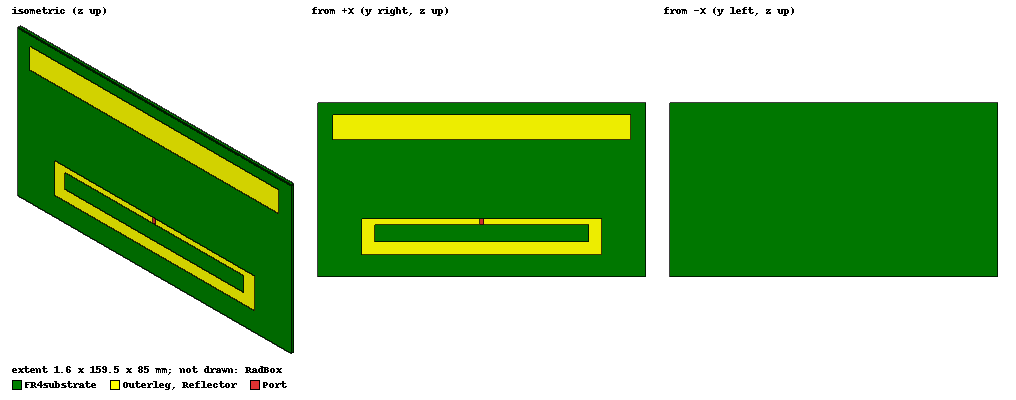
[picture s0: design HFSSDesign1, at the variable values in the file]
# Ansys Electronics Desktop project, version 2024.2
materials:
  vacuum: permittivity=1
  copper: permeability=0.999991 conductivity=58000000
  FR4_epoxy: permittivity=4.4 dielectric_loss_tangent=0.02

design HFSSDesign1 (HFSS, HFSS Terminal Network, model units mm)
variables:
  dipole_length = 114.5mm  # optimise 100mm..125mm
  dipole_outer_width = 6mm  # optimise 3mm..10mm
  dipole_inner_gap = 2mm
  dipole_inner_width = 3mm
  reflector_length = 145mm  # optimise 110mm..165mm
  reflector_thickness = 12mm
  reflector_distance = 40mm  # optimise 25mm..75mm
  dipole_aperture = 10mm
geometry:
  RadBox [vacuum] = box(corner=(-2*dipole_length, -2*dipole_length, -2*dipole_length), size=(4*dipole_length, 4*dipole_length, 4*dipole_length))
  Port = rectangle(corner=(0mm, -dipole_inner_gap/2, -dipole_inner_width/2), y_size=dipole_inner_gap, z_size=dipole_inner_width)
  FR4substrate [FR4_epoxy] = box(corner=(0mm, -reflector_length*1.1/2, -dipole_outer_width*4.5), size=(-1.6mm, reflector_length*1.1, (dipole_outer_width*4.5) + (reflector_distance) + (reflector_thickness*1.5)))
  Reflector = rectangle(corner=(0mm, -reflector_length/2, reflector_distance), y_size=reflector_length, z_size=reflector_thickness)
  Innerleg1 = rectangle(corner=(0mm, -dipole_inner_gap/2, dipole_inner_width/2), y_size=-dipole_length/2, z_size=-dipole_inner_width)
  Innerleg2 = rectangle(corner=(0mm, dipole_inner_gap/2, dipole_inner_width/2), y_size=dipole_length/2, z_size=-dipole_inner_width)
  Outerleg = rectangle(corner=(0mm, -dipole_length/2, -dipole_aperture), y_size=dipole_length, z_size=-dipole_outer_width)
  Side1 = rectangle(corner=(0mm, -((dipole_length/2)+(dipole_inner_gap/2)), dipole_inner_width/2), y_size=dipole_outer_width, z_size=-(dipole_outer_width+dipole_aperture+(dipole_inner_width/2)))
  Side2 = rectangle(corner=(0mm, ((dipole_length/2)+(dipole_inner_gap/2)), dipole_inner_width/2), y_size=-dipole_outer_width, z_size=-(dipole_outer_width+dipole_aperture+(dipole_inner_width/2)))
  Outerleg.unite(Side1, Side2, Innerleg2, Innerleg1)
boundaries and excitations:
  Rad1: Radiation Objects=RadBox
  PerfE4: Perfect E Objects=Outerleg
  PerfE5: Perfect E Faces=Reflector.face
  1: Lumped Port Objects=Port LumpedPortType=Modal Modes{Mode1{IntLine{(0, 1, 0) -> (0, -1, 0)} CharImp=Zpi}} Impedance=200ohm
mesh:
  initial mesh: GlobalSurfApproximation{CurvedSurfaceApproxChoice=UseSlider SliderMeshSettings=1}
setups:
  915MHz: HfssDriven Frequency=915MHz MaxDeltaS=0.02 MaximumPasses=12 MinimumPasses=1 MinimumConvergedPasses=1 PercentRefinement=30 BasisOrder=1 PortAccuracy=2 DrivenSolverType="Direct Solver"
  Sweep: HfssDriven MultipleAdaptiveFreqsSetup{Low=800MHz High=1GHz} MaxDeltaS=0.02 MaximumPasses=12 MinimumPasses=1 MinimumConvergedPasses=1 PercentRefinement=30 BasisOrder=1 PortAccuracy=2 DrivenSolverType="Direct Solver"
    sweep Sweep: 800MHz to 1GHz, 101 points; Type=Interpolating InterpTolerance=0.5 InterpMaxSolns=250 PassivityErrorTolerance=0.0001
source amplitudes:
  1:1: 1V 0deg
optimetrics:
  OptimizationSetup1: Optimization Optimizer="kDX ASO" AnalysisStopOptions{StopForNumIteration MaxNumIteration=68 MinNumIteration=10} CostFuncNormType=L2 Acceptable_Cost=0 Noise=0.0001 UpdateDesignWhenDone
    vary dipole_length: Min=100mm Max=125mm MinStep=1.6mm MaxStep=16mm MinFocus=130mm MaxFocus=170mm start=116.8mm
    vary dipole_outer_width: Min=3mm Max=10mm MinStep=0.14mm MaxStep=1.4mm MinFocus=7mm MaxFocus=21mm start=5mm
    vary reflector_distance: Min=25mm Max=75mm MinStep=0.5mm MaxStep=5mm MinFocus=25mm MaxFocus=75mm start=46mm
    vary reflector_length: Min=110mm Max=165mm MinStep=1.1mm MaxStep=11mm MinFocus=55mm MaxFocus=165mm start=145mm
    goal im(Zt(1,1)) <= 10 weight 1 on 915MHz : LastAdaptive at Freq 0.915GHz
    goal im(Zt(1,1)) >= -10 weight 1 on 915MHz : LastAdaptive at Freq 0.915GHz
    goal re(Zt(1,1)) <= 210 weight 1 on 915MHz : LastAdaptive at Freq 0.915GHz
    goal re(Zt(1,1)) >= 190 weight 1 on 915MHz : LastAdaptive at Freq 0.915GHz
    goal PeakDirectivity >= 3.9 weight 1 on 915MHz : LastAdaptive at Freq 0.915GHz
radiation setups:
  Infinite Sphere1: Infinite Sphere Theta=0deg..180deg step 2deg Phi=-180deg..180deg step 2deg
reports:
  Terminal S Parameter Plot 1: dB(St(1,1)) vs Freq on Sweep : Sweep; markers m1 at 0.902GHz, m2 at 0.915GHz, m3 at 0.928GHz, m4 at 0.866GHz, m5 at 0.986GHz
  Gain Plot 1: dB(GainTotal) vs Phi, Theta on 915MHz : LastAdaptive, Infinite Sphere1 [Freq=0.915GHz]
  Z Parameter Plot 2: re(Z(1,1)), im(Z(1,1)) vs Freq on Sweep : Sweep [dipole_outer_width=all reflector_thickness=all reflector_distance=all]
  Terminal S Parameter Chart 1: St(1,1) on Sweep : Sweep [Freq=all]; markers m1 at 0.902GHz, m2 at 0.915GHz, m3 at 0.928GHz
  Antenna Params Table 1: dB(PeakDirectivity) vs Freq on 915MHz : LastAdaptive [dipole_length=all]
  Antenna Params Table 2: dB(PeakGain) vs Freq on 915MHz : LastAdaptive [dipole_length=all]
  Terminal Z Parameter Table 1: re(Zt(1,1)), im(Zt(1,1)) vs Freq on 915MHz : LastAdaptive
  Antenna Params Table 3: dB(FrontToBackRatio) vs Freq on 915MHz : LastAdaptive
  Antenna Params Table 4: FrontToBackRatio vs Freq on 915MHz : LastAdaptive
